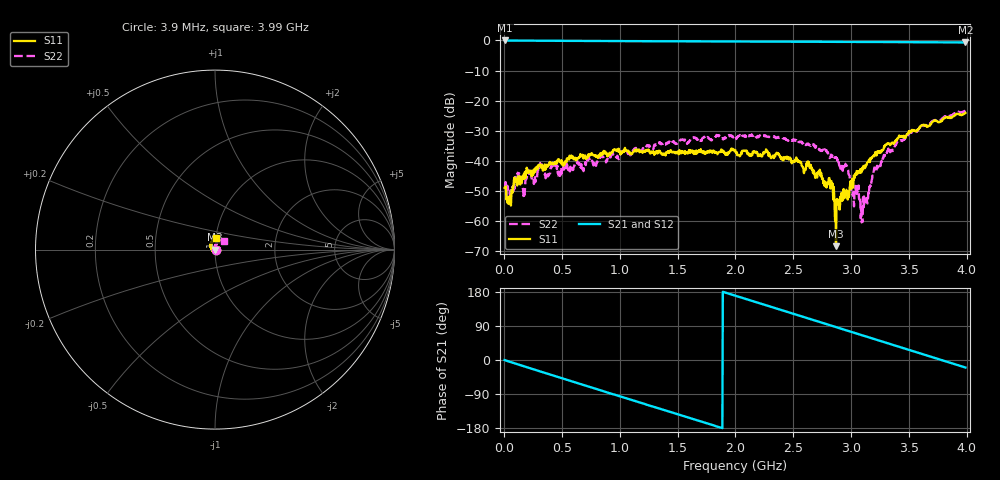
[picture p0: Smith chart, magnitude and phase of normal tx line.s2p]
#  HZ  S  RI  R  50.00
! Rohde & Schwarz Vector Network Analyzer
! Rohde-Schwarz,ZNL20-2Port,1323001220101312,1.72.1.6-23.02.1.246
! Created: UTC 11/12/2024, 8:34:35 PM
! freq[Hz]  re:S11  im:S11  re:S21  im:S21  re:S12  im:S12  re:S22  im:S22
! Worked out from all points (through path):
!   1023 points, 3.9 MHz to 3.99 GHz, reference 50 ohm
!   highest |S21| = -0.02 dB at 7.8 MHz (marker M1); lowest = -0.7 dB at 3.99 GHz (marker M2)
!   group delay of S21, straight-line fit = 264 ps
!   lowest |S11| = -68.4 dB at 2.87 GHz (marker M3), VSWR 1.00, Z = 50 - j0.0204 ohm
!   |S11| at or under -10 dB: start of sweep to end of sweep
!   |S22| runs from -60.5 to -23.4 dB; largest |S21 - S12| = 0.012
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3900000  0.00354 0.000318  0.9962 -0.00169  0.9939 -0.00968  0.00378 0.000414
7800000  0.00357 0.000148  0.9982 -0.00973  0.9917 -0.0132  0.00373 0.000393
3.9e7  0.00134 0.0014  0.993 -0.066  0.9955 -0.071  0.00218 0.00197
1.014e8  0.00409 0.00264  0.9785 -0.171  0.9802 -0.1764  0.00463 0.00208
1.716e8  0.00418 0.0028  0.9492 -0.2848  0.9511 -0.2908  0.0028 0.000922
3.198e8  0.00686 0.00338  0.8473 -0.5071  0.8471 -0.5138  0.00757 0.00438
3.705e8  0.00835 0.00205  0.8017 -0.5754  0.8009 -0.582  0.00405 0.00306
4.212e8  0.00857 0.00219  0.7487 -0.6408  0.7474 -0.6474  0.00771 0.00491
6.708e8  0.0117 -0.00288  0.423 -0.8849  0.4187 -0.8904  0.00524 0.00532
1.0023e9  0.00973 -0.0105  -0.0992 -0.9697  -0.1058 -0.9717  0.01 0.00767
1.3338e9  -0.00244 -0.0137  -0.5866 -0.7705  -0.594 -0.7691  0.0166 0.0103
1.9968e9  -0.0128 0.00697  -0.9446 0.1676  -0.9472 0.1773  0.0244 0.00168
2.6637e9  0.00482 0.00518  -0.2717 0.9094  -0.2645 0.9156  0.0158 -0.00954
2.8236e9  0.00345 0.000246  -0.0251 0.9472  -0.0142 0.9505  0.00737 -0.00904
2.8704e9  0.000322 -0.000204  0.0493 0.9453  0.0596 0.9481  0.00901 -0.007
2.9679e9  -0.00183 -0.00221  0.2008 0.9235  0.2113 0.9248  0.00495 -0.00554
3.0108e9  -0.00485 -0.00125  0.2661 0.9064  0.2761 0.907  0.000588 -0.00291
3.1044e9  -0.0079 -0.00167  0.4019 0.853  0.4125 0.8522  -0.00108 0.00221
3.2058e9  -0.0124 0.000465  0.5382 0.7722  0.5488 0.7697  -0.00187 0.00747
3.3267e9  -0.0185 0.00511  0.6803 0.6474  0.6904 0.6427  -0.00214 0.0142
3.666e9  -0.0214 0.0302  0.9145 0.1794  0.9209 0.1709  0.0148 0.036
3.9897e9  0.00379 0.0623  0.8703 -0.3133  0.8706 -0.3236  0.0504 0.0456
